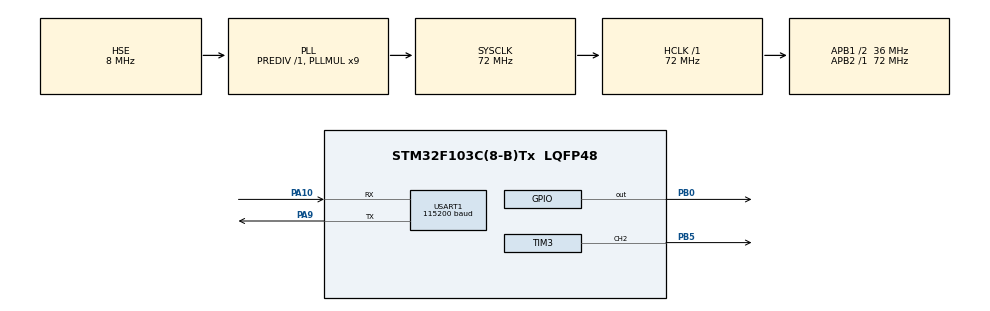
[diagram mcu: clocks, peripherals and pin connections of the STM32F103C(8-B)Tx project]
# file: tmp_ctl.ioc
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Dma.Request0=USART1_TX
Dma.Request1=USART1_RX
Dma.USART1_RX.1.Direction=DMA_PERIPH_TO_MEMORY
Dma.USART1_RX.1.Instance=DMA1_Channel5
Dma.USART1_RX.1.MemDataAlignment=DMA_MDATAALIGN_BYTE
Dma.USART1_RX.1.MemInc=DMA_MINC_ENABLE
Dma.USART1_RX.1.Mode=DMA_NORMAL
Dma.USART1_RX.1.PeriphDataAlignment=DMA_PDATAALIGN_BYTE
Dma.USART1_RX.1.PeriphInc=DMA_PINC_DISABLE
Dma.USART1_RX.1.Priority=DMA_PRIORITY_LOW
Dma.USART1_TX.0.Direction=DMA_MEMORY_TO_PERIPH
Dma.USART1_TX.0.Instance=DMA1_Channel4
Dma.USART1_TX.0.MemDataAlignment=DMA_MDATAALIGN_BYTE
Dma.USART1_TX.0.MemInc=DMA_MINC_ENABLE
Dma.USART1_TX.0.Mode=DMA_NORMAL
Dma.USART1_TX.0.PeriphDataAlignment=DMA_PDATAALIGN_BYTE
Dma.USART1_TX.0.PeriphInc=DMA_PINC_DISABLE
Dma.USART1_TX.0.Priority=DMA_PRIORITY_LOW
Mcu.Family=STM32F1
Mcu.Name=STM32F103C(8-B)Tx
Mcu.Package=LQFP48
NVIC.DMA1_Channel4_IRQn=true\:0\:0\:false
NVIC.DMA1_Channel5_IRQn=true\:0\:0\:false
NVIC.PriorityGroup=NVIC_PRIORITYGROUP_4
NVIC.TIM2_IRQn=true\:0\:0\:false
NVIC.USART1_IRQn=true\:0\:0\:false
PA10.Mode=Asynchronous
PA10.Signal=USART1_RX
PA13.Mode=Serial_Wire
PA13.Signal=SYS_JTMS-SWDIO
PA14.Mode=Serial_Wire
PA14.Signal=SYS_JTCK-SWCLK
PA9.Mode=Asynchronous
PA9.Signal=USART1_TX
PB0.Signal=GPIO_Output
PB5.Signal=S_TIM3_CH2
PD0-OSC_IN.Mode=HSE-External-Oscillator
PD0-OSC_IN.Signal=RCC_OSC_IN
PD1-OSC_OUT.Mode=HSE-External-Oscillator
PD1-OSC_OUT.Signal=RCC_OSC_OUT
ProjectManager.TargetToolchain=MDK-ARM V5
RCC.ADCPresc=RCC_ADCPCLK2_DIV8
RCC.AHBFreq_Value=72000000
RCC.APB1CLKDivider=RCC_HCLK_DIV2
RCC.APB1Freq_Value=36000000
RCC.APB1TimFreq_Value=72000000
RCC.APB2Freq_Value=72000000
RCC.APB2TimFreq_Value=72000000
RCC.HCLKFreq_Value=72000000
RCC.HSIState=RCC_HSI_ON
RCC.PLLMUL=RCC_PLL_MUL9
RCC.PLLSourceVirtual=RCC_PLLSOURCE_HSE
RCC.SYSCLKFreq_VALUE=72000000
RCC.SYSCLKSource=RCC_SYSCLKSOURCE_PLLCLK
RCC.TimSys_Div=SYSTICK_CLKSOURCE_HCLK_DIV8
RCC.USBFreq_Value=72000000
SH.S_TIM3_CH2.0=TIM3_CH2,PWM Generation2 CH2
TIM2.Period=0xFFFF
TIM2.Prescaler=0
TIM2.Pulse-Output\ Compare1\ No\ Output=0xFFFF
TIM2.TIM_MasterOutputTrigger=TIM_TRGO_UPDATE
TIM2.TIM_MasterSlaveMode=TIM_MASTERSLAVEMODE_DISABLE
TIM3.Channel-PWM\ Generation2\ CH2=TIM_CHANNEL_2
TIM3.OCPolarity_2=TIM_OCPOLARITY_LOW
TIM3.Period=71
TIM3.Prescaler=999
TIM3.Pulse-PWM\ Generation2\ CH2=36
TIM3.TIM_MasterOutputTrigger=TIM_TRGO_UPDATE
TIM3.TIM_MasterSlaveMode=TIM_MASTERSLAVEMODE_ENABLE
USART1.BaudRate=115200
VP_IWDG_VS_IWDG.Mode=IWDG_Activate
VP_TIM2_VS_ClockSourceINT.Mode=Internal
VP_TIM2_VS_ClockSourceITR.Mode=TriggerSource_ITR2
VP_TIM2_VS_ControllerModeGated.Mode=Gated Mode
VP_TIM2_VS_no_output1.Mode=Output Compare1 No Output
VP_TIM3_VS_ClockSourceINT.Mode=Internal
VP_TIM3_VS_ClockSourceITR.Mode=TriggerSource_ITR2
board=tmp_ctl

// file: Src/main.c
/**
  ******************************************************************************
  * File Name          : main.c
  * Description        : Main program body
  ******************************************************************************
  *
  * COPYRIGHT(c) 2016 STMicroelectronics
  *
  * Redistribution and use in source and binary forms, with or without modification,
  * are permitted provided that the following conditions are met:
  *   1. Redistributions of source code must retain the above copyright notice,
  *      this list of conditions and the following disclaimer.
  *   2. Redistributions in binary form must reproduce the above copyright notice,
  *      this list of conditions and the following disclaimer in the documentation
  *      and/or other materials provided with the distribution.
  *   3. Neither the name of STMicroelectronics nor the names of its contributors
  *      may be used to endorse or promote products derived from this software
  *      without specific prior written permission.
  *
  * THIS SOFTWARE IS PROVIDED BY THE COPYRIGHT HOLDERS AND CONTRIBUTORS "AS IS"
  * AND ANY EXPRESS OR IMPLIED WARRANTIES, INCLUDING, BUT NOT LIMITED TO, THE
  * IMPLIED WARRANTIES OF MERCHANTABILITY AND FITNESS FOR A PARTICULAR PURPOSE ARE
  * DISCLAIMED. IN NO EVENT SHALL THE COPYRIGHT HOLDER OR CONTRIBUTORS BE LIABLE
  * FOR ANY DIRECT, INDIRECT, INCIDENTAL, SPECIAL, EXEMPLARY, OR CONSEQUENTIAL
  * DAMAGES (INCLUDING, BUT NOT LIMITED TO, PROCUREMENT OF SUBSTITUTE GOODS OR
  * SERVICES; LOSS OF USE, DATA, OR PROFITS; OR BUSINESS INTERRUPTION) HOWEVER
  * CAUSED AND ON ANY THEORY OF LIABILITY, WHETHER IN CONTRACT, STRICT LIABILITY,
  * OR TORT (INCLUDING NEGLIGENCE OR OTHERWISE) ARISING IN ANY WAY OUT OF THE USE
  * OF THIS SOFTWARE, EVEN IF ADVISED OF THE POSSIBILITY OF SUCH DAMAGE.
  *
  ******************************************************************************
  */
#include "stm32f1xx_hal.h"

/* USER CODE BEGIN Includes */
#include "wenyu_tmp_ctl_bsp.h"
#include "tmp_ctl.h"
#include "string.h"
/* USER CODE END Includes */

IWDG_HandleTypeDef hiwdg;

TIM_HandleTypeDef htim2;
TIM_HandleTypeDef htim3;

UART_HandleTypeDef huart1;
DMA_HandleTypeDef hdma_usart1_tx;
DMA_HandleTypeDef hdma_usart1_rx;

/* USER CODE BEGIN PV */
/* Private variables ---------------------------------------------------------*/
float temp_value;
uint16_t duty_cycle;

uint8_t aTxBuffer[TXBUFFERSIZE];
uint8_t aRxBuffer[RXBUFFERSIZE];

uint8_t Uart1ReadyRead = RESET;
uint8_t Uart1ReadyWrite = SET;

uint8_t Rxbuff[RXBUFFERSIZE * 5];
extern uint8_t TIM3_Pulse_TIM2_Counter_OK;
uint16_t pulse = 0;
uint16_t rev_pulse = 0;
uint16_t frequence = 0;

/* USER CODE END PV */

void SystemClock_Config(void);
static void MX_GPIO_Init(void);
static void MX_DMA_Init(void);
static void MX_IWDG_Init(void);
static void MX_TIM2_Init(void);
static void MX_TIM3_Init(void);
void Foreward_Rollback(GPIO_PinState PinState);
static void MX_USART1_UART_Init(void);

/* USER CODE BEGIN PFP */
/* Private function prototypes -----------------------------------------------*/
void RxTxProcessing(void);
void Output_Pulse(uint16_t Num);
void Frequence_Setting(uint32_t PulseFrequency);
/* USER CODE END PFP */

int main(void)
{

  /* USER CODE BEGIN 1 */

	uint32_t rxtxtickstart = 0;
  rxtxtickstart = HAL_GetTick();

//	uint32_t readtickstart = 0;
//  readtickstart = HAL_GetTick();

//	uint32_t pidtickstart = 0;
//  pidtickstart = HAL_GetTick();

  /* USER CODE END 1 */

  /* MCU Configuration----------------------------------------------------------*/

  /* Reset of all peripherals, Initializes the Flash interface and the Systick. */
  HAL_Init();

  /* Configure the system clock */
  SystemClock_Config();

  /* Initialize all configured peripherals */
  MX_GPIO_Init();
  MX_DMA_Init();
  MX_IWDG_Init();
  MX_TIM2_Init();
  MX_TIM3_Init();
  MX_USART1_UART_Init();

  /* USER CODE BEGIN 2 */

	weiyu_tmp_ctr.Init();

	HAL_UART_Receive_DMA(&huart1, (uint8_t*)aRxBuffer, RXBUFFERSIZE);
	HAL_IWDG_Start(&hiwdg);

  /* USER CODE END 2 */

  /* Infinite loop */
  while (1)
  {

  /* USER CODE BEGIN 3 */

		if((HAL_GetTick() - rxtxtickstart) > DELAY_200MS)
		{
			rxtxtickstart = HAL_GetTick();
			RxTxProcessing();
		}
		if(TIM3_Pulse_TIM2_Counter_OK == CMD_FINISH)
		{
			TIM3_Pulse_TIM2_Counter_OK = FORWARD_START;
			Frequence_Setting(frequence);
			Foreward_Rollback(GPIO_PIN_SET);
			Output_Pulse(pulse);
		}else if(TIM3_Pulse_TIM2_Counter_OK == FORWARD_FINISH)
		{
			TIM3_Pulse_TIM2_Counter_OK = ROLLBACK_START;
			Foreward_Rollback(GPIO_PIN_RESET);
			Output_Pulse(rev_pulse);
		}

		HAL_IWDG_Refresh(&hiwdg);

  }
  /* USER CODE END 3 */

}

/** System Clock Configuration
*/
void SystemClock_Config(void)
{

  RCC_OscInitTypeDef RCC_OscInitStruct;
  RCC_ClkInitTypeDef RCC_ClkInitStruct;

  RCC_OscInitStruct.OscillatorType = RCC_OSCILLATORTYPE_LSI|RCC_OSCILLATORTYPE_HSE;
  RCC_OscInitStruct.HSEState = RCC_HSE_ON;
  RCC_OscInitStruct.HSEPredivValue = RCC_HSE_PREDIV_DIV1;
  RCC_OscInitStruct.LSIState = RCC_LSI_ON;
  RCC_OscInitStruct.PLL.PLLState = RCC_PLL_ON;
  RCC_OscInitStruct.PLL.PLLSource = RCC_PLLSOURCE_HSE;
  RCC_OscInitStruct.PLL.PLLMUL = RCC_PLL_MUL9;
  HAL_RCC_OscConfig(&RCC_OscInitStruct);

  RCC_ClkInitStruct.ClockType = RCC_CLOCKTYPE_SYSCLK|RCC_CLOCKTYPE_PCLK1;
  RCC_ClkInitStruct.SYSCLKSource = RCC_SYSCLKSOURCE_PLLCLK;
  RCC_ClkInitStruct.AHBCLKDivider = RCC_SYSCLK_DIV1;
  RCC_ClkInitStruct.APB1CLKDivider = RCC_HCLK_DIV2;
  RCC_ClkInitStruct.APB2CLKDivider = RCC_HCLK_DIV1;
  HAL_RCC_ClockConfig(&RCC_ClkInitStruct, FLASH_LATENCY_2);

  HAL_SYSTICK_Config(HAL_RCC_GetHCLKFreq()/8000);

  HAL_SYSTICK_CLKSourceConfig(SYSTICK_CLKSOURCE_HCLK_DIV8);

  /* SysTick_IRQn interrupt configuration */
  HAL_NVIC_SetPriority(SysTick_IRQn, 0, 0);
}

/* IWDG init function */
void MX_IWDG_Init(void)
{

  hiwdg.Instance = IWDG;
  hiwdg.Init.Prescaler = IWDG_PRESCALER_4;
  hiwdg.Init.Reload = 4095;
  HAL_IWDG_Init(&hiwdg);

}

/* TIM2 init function */
void MX_TIM2_Init(void)
{

  TIM_ClockConfigTypeDef sClockSourceConfig;
  TIM_SlaveConfigTypeDef sSlaveConfig;
  TIM_MasterConfigTypeDef sMasterConfig;
  TIM_OC_InitTypeDef sConfigOC;

  htim2.Instance = TIM2;
  htim2.Init.Prescaler = 0;
  htim2.Init.CounterMode = TIM_COUNTERMODE_UP;
  htim2.Init.Period = 0xFFFF;
  htim2.Init.ClockDivision = TIM_CLOCKDIVISION_DIV1;
  HAL_TIM_Base_Init(&htim2);

  sClockSourceConfig.ClockSource = TIM_CLOCKSOURCE_INTERNAL;
  HAL_TIM_ConfigClockSource(&htim2, &sClockSourceConfig);

  HAL_TIM_OC_Init(&htim2);

  sSlaveConfig.SlaveMode = TIM_SLAVEMODE_GATED;
  sSlaveConfig.InputTrigger = TIM_TS_ITR2;
  HAL_TIM_SlaveConfigSynchronization(&htim2, &sSlaveConfig);

  sMasterConfig.MasterOutputTrigger = TIM_TRGO_UPDATE;
  sMasterConfig.MasterSlaveMode = TIM_MASTERSLAVEMODE_DISABLE;
  HAL_TIMEx_MasterConfigSynchronization(&htim2, &sMasterConfig);

  sConfigOC.OCMode = TIM_OCMODE_TIMING;
  sConfigOC.Pulse = 0xFFFF;
  sConfigOC.OCPolarity = TIM_OCPOLARITY_HIGH;
  sConfigOC.OCFastMode = TIM_OCFAST_DISABLE;
  HAL_TIM_OC_ConfigChannel(&htim2, &sConfigOC, TIM_CHANNEL_1);

}

/* TIM3 init function */
void MX_TIM3_Init(void)
{

  TIM_ClockConfigTypeDef sClockSourceConfig;
  TIM_SlaveConfigTypeDef sSlaveConfig;
  TIM_MasterConfigTypeDef sMasterConfig;
  TIM_OC_InitTypeDef sConfigOC;

  htim3.Instance = TIM3;
  htim3.Init.Prescaler = 999;
  htim3.Init.CounterMode = TIM_COUNTERMODE_UP;
  htim3.Init.Period = 71;
  htim3.Init.ClockDivision = TIM_CLOCKDIVISION_DIV1;
  HAL_TIM_Base_Init(&htim3);

  sClockSourceConfig.ClockSource = TIM_CLOCKSOURCE_INTERNAL;
  HAL_TIM_ConfigClockSource(&htim3, &sClockSourceConfig);

  HAL_TIM_PWM_Init(&htim3);

  sSlaveConfig.SlaveMode = TIM_SLAVEMODE_DISABLE;
  sSlaveConfig.InputTrigger = TIM_TS_ITR2;
  HAL_TIM_SlaveConfigSynchronization(&htim3, &sSlaveConfig);

  sMasterConfig.MasterOutputTrigger = TIM_TRGO_UPDATE;
  sMasterConfig.MasterSlaveMode = TIM_MASTERSLAVEMODE_ENABLE;
  HAL_TIMEx_MasterConfigSynchronization(&htim3, &sMasterConfig);

  sConfigOC.OCMode = TIM_OCMODE_PWM1;
  sConfigOC.Pulse = 36;
  sConfigOC.OCPolarity = TIM_OCPOLARITY_LOW;
  sConfigOC.OCFastMode = TIM_OCFAST_DISABLE;
  HAL_TIM_PWM_ConfigChannel(&htim3, &sConfigOC, TIM_CHANNEL_2);

}

/* USART1 init function */
void MX_USART1_UART_Init(void)
{

  huart1.Instance = USART1;
  huart1.Init.BaudRate = 115200;
  huart1.Init.WordLength = UART_WORDLENGTH_8B;
  huart1.Init.StopBits = UART_STOPBITS_1;
  huart1.Init.Parity = UART_PARITY_NONE;
  huart1.Init.Mode = UART_MODE_TX_RX;
  huart1.Init.HwFlowCtl = UART_HWCONTROL_NONE;
  huart1.Init.OverSampling = UART_OVERSAMPLING_16;
  HAL_UART_Init(&huart1);

}

void MX_DMA_Init(void)
{
  /* DMA controller clock enable */
  __HAL_RCC_DMA1_CLK_ENABLE();

  /* DMA interrupt init */
  HAL_NVIC_SetPriority(DMA1_Channel4_IRQn, 0, 0);
  HAL_NVIC_EnableIRQ(DMA1_Channel4_IRQn);
  HAL_NVIC_SetPriority(DMA1_Channel5_IRQn, 0, 0);
  HAL_NVIC_EnableIRQ(DMA1_Channel5_IRQn);

}

/** Configure pins as
        * Analog
        * Input
        * Output
        * EVENT_OUT
        * EXTI
*/
void MX_GPIO_Init(void)
{

  GPIO_InitTypeDef GPIO_InitStruct;

  /* GPIO Ports Clock Enable */
  __GPIOD_CLK_ENABLE();
  __GPIOB_CLK_ENABLE();
  __GPIOA_CLK_ENABLE();

  /*Configure GPIO pin : PB0 */
  GPIO_InitStruct.Pin = GPIO_PIN_0;
  GPIO_InitStruct.Mode = GPIO_MODE_OUTPUT_PP;
  GPIO_InitStruct.Speed = GPIO_SPEED_LOW;
  HAL_GPIO_Init(GPIOB, &GPIO_InitStruct);

}

/* USER CODE BEGIN 4 */

void Frequence_Setting(uint32_t PulseFrequency)
{
	uint32_t nPDTemp ;
  TIM_OC_InitTypeDef sConfigOC;

	HAL_TIM_PWM_Stop(&htim3,TIM_CHANNEL_2);
	nPDTemp = 72000UL/PulseFrequency;

	htim3.Instance = TIM3;
  htim3.Init.Prescaler = 999;
  htim3.Init.CounterMode = TIM_COUNTERMODE_UP;
  htim3.Init.Period = nPDTemp;
  htim3.Init.ClockDivision = TIM_CLOCKDIVISION_DIV1;
  HAL_TIM_Base_Init(&htim3);

	sConfigOC.OCMode = TIM_OCMODE_PWM1;
  sConfigOC.Pulse = nPDTemp/2;
  sConfigOC.OCPolarity = TIM_OCPOLARITY_HIGH;
  sConfigOC.OCFastMode = TIM_OCFAST_DISABLE;
  HAL_TIM_PWM_ConfigChannel(&htim3, &sConfigOC, TIM_CHANNEL_2);
}

void Output_Pulse(uint16_t Num)
{
		TIM2->CCR1 = Num;
		TIM2->CNT = 0;
		HAL_TIM_OC_Start_IT(&htim2,TIM_CHANNEL_1);
		HAL_TIM_PWM_Start(&htim3,TIM_CHANNEL_2);
}

void Foreward_Rollback(GPIO_PinState PinState)
{
	PinState?HAL_GPIO_WritePin(GPIOB, GPIO_PIN_0, GPIO_PIN_SET):HAL_GPIO_WritePin(GPIOB, GPIO_PIN_0, GPIO_PIN_RESET);
}

void RxTxProcessing(void)
{
	uint8_t result_crc;

	if(Uart1ReadyRead == SET)
	{
		Uart1ReadyWrite = RESET;
		RxRead((uint8_t*)&weiyu_tmp_ctr.aRxBuffer, sizeof(CustomProtocol_TypeDef));
		Uart1ReadyWrite = SET;
	}

	if(weiyu_tmp_ctr.aRxBuffer.start_flag == 0xff && weiyu_tmp_ctr.aRxBuffer.end_flag == 0xff)
	{
		result_crc = weiyu_tmp_ctr.getCrc8((uint8_t *)&weiyu_tmp_ctr.aRxBuffer.cmd);
		if(weiyu_tmp_ctr.aRxBuffer.crc == result_crc)
		{
			switch(weiyu_tmp_ctr.aRxBuffer.cmd)
			{
				case CMD_SET_PULSE:
					if(TIM3_Pulse_TIM2_Counter_OK == ROLLBACK_FINISH || TIM3_Pulse_TIM2_Counter_OK == STOP_STATUE)
					{
							pulse = weiyu_tmp_ctr.aRxBuffer.data;
							//TIM3_Pulse_TIM2_Counter_OK = CMD_PULSE_FINISH;
					}
					memcpy((uint8_t*)&weiyu_tmp_ctr.aTxBuffer,(uint8_t*)&weiyu_tmp_ctr.aRxBuffer,sizeof(CustomProtocol_TypeDef));
					HAL_UART_Transmit_DMA(&huart1, (uint8_t*)&weiyu_tmp_ctr.aTxBuffer, sizeof(CustomProtocol_TypeDef));
					break;
				case CMD_SET_PERIOD:
					if(TIM3_Pulse_TIM2_Counter_OK == ROLLBACK_FINISH || TIM3_Pulse_TIM2_Counter_OK == STOP_STATUE)
					{
							frequence = weiyu_tmp_ctr.aRxBuffer.data;
							//TIM3_Pulse_TIM2_Counter_OK = CMD_PERIOD_FINISH;
					}
					memcpy((uint8_t*)&weiyu_tmp_ctr.aTxBuffer,(uint8_t*)&weiyu_tmp_ctr.aRxBuffer,sizeof(CustomProtocol_TypeDef));
					HAL_UART_Transmit_DMA(&huart1, (uint8_t*)&weiyu_tmp_ctr.aTxBuffer, sizeof(CustomProtocol_TypeDef));
					break;
				case CMD_SET_REV_PULSE:
					if(TIM3_Pulse_TIM2_Counter_OK == ROLLBACK_FINISH || TIM3_Pulse_TIM2_Counter_OK == STOP_STATUE)
					{

							rev_pulse = weiyu_tmp_ctr.aRxBuffer.data;
							//TIM3_Pulse_TIM2_Counter_OK = CMD_REV_PULSE_FINISH;
							TIM3_Pulse_TIM2_Counter_OK = CMD_FINISH;
					}
					memcpy((uint8_t*)&weiyu_tmp_ctr.aTxBuffer,(uint8_t*)&weiyu_tmp_ctr.aRxBuffer,sizeof(CustomProtocol_TypeDef));
					HAL_UART_Transmit_DMA(&huart1, (uint8_t*)&weiyu_tmp_ctr.aTxBuffer, sizeof(CustomProtocol_TypeDef));
					break;
				case CMD_SWITCH_HART:
					break;
				case CMD_GET_CHANNEL:
					break;
				case CMD_SET_TIMER:
					break;
				case CMD_GET_TIMER:
					break;
				default:
					break;
			}
		}
	}
	memset((uint8_t*)&weiyu_tmp_ctr.aRxBuffer,0, sizeof(CustomProtocol_TypeDef));
}

/* USER CODE END 4 */

/************************ (C) COPYRIGHT STMicroelectronics *****END OF FILE****/
